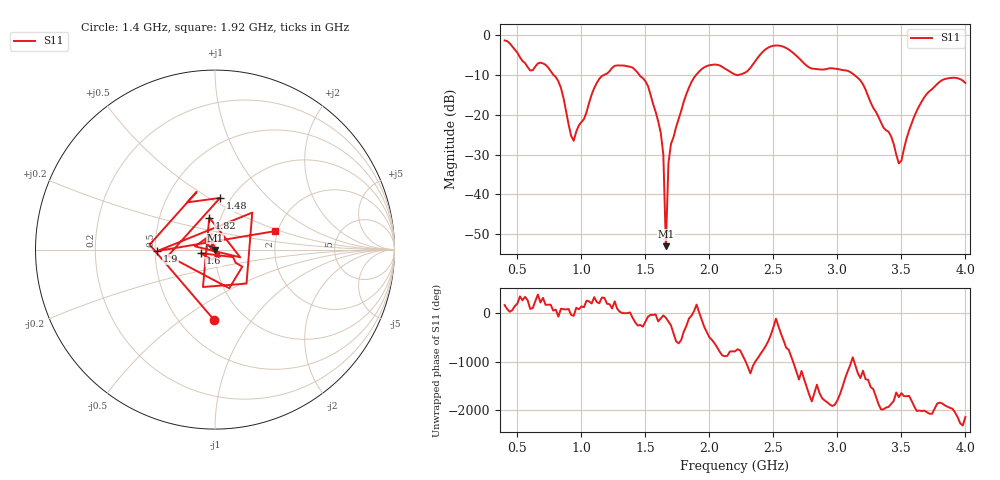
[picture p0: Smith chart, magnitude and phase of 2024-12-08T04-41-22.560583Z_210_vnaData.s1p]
!Created with skrf (http://scikit-rf.org).
# Hz S RI R 50.0
!freq ReS11 ImS11
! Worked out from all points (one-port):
!   181 points, 400 MHz to 4 GHz, reference 50 ohm
!   lowest |S11| = -53.0 dB at 1.66 GHz (marker M1), VSWR 1.00, Z = 50 - j0.223 ohm
!   |S11| at or under -10 dB: 782.4 MHz to 1.177 GHz (394.2 MHz wide, 40.2 % of centre); 1.453 GHz to 1.896 GHz (443.5 MHz wide, 26.5 % of centre); 3.132 GHz to end of sweep (the widest 3 of 4)
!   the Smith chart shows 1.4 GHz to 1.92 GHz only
!   S11 on the Smith chart (normalised r, x): 1.4 GHz: 0.73, -0.67; 1.48 GHz: 0.89, +0.56; 1.6 GHz: 0.85, -0.03; 1.82 GHz: 0.88, +0.33; 1.9 GHz: 0.51, -0.01; 1.92 GHz: 1.93, +0.45
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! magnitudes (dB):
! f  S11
! 400 MHz  -1.3
! 600 MHz  -8.9
! 720 MHz  -7.5
! 860 MHz  -15.8
! 940 MHz  -26.5
! 1.14 GHz  -11.0
! 1.3 GHz  -7.6
! 1.4 GHz  -8.2
! 1.48 GHz  -10.8
! 1.6 GHz  -21.7
! 1.64 GHz  -30.0
! 1.66 GHz  -53.0
! 1.68 GHz  -32.1
! 1.76 GHz  -21.0
! 1.82 GHz  -14.8
! 1.9 GHz  -9.8
! 1.92 GHz  -9.1
! 2.2 GHz  -9.9
! 2.48 GHz  -2.8
! 2.66 GHz  -4.6
! 2.8 GHz  -8.4
! 3.1 GHz  -9.3
! 3.42 GHz  -25.5
! 3.48 GHz  -32.2
! 3.56 GHz  -23.9
! 3.68 GHz  -15.6
! 3.8 GHz  -11.7
! 4 GHz  -12.0
